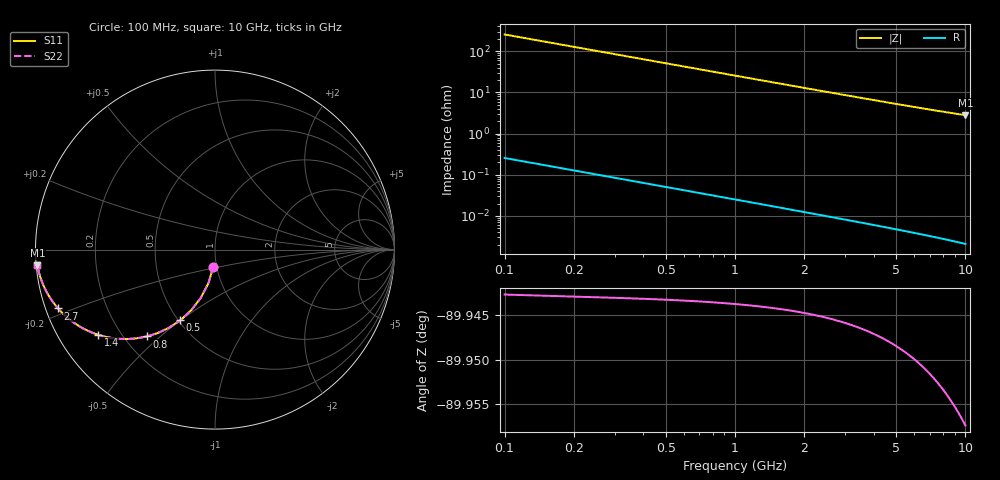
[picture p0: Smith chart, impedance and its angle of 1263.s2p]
# Hz S RI R 50.00
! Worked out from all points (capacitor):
!   100 points, 100 MHz to 10 GHz, reference 50 ohm
!   read as one part in shunt: C = 6.24 pF near 100 MHz
!   lowest |Z| = 2.8 ohm at 10 GHz (marker M1)
!   S11 on the Smith chart (normalised r, x): 100 MHz: 0.96, -0.19; 500 MHz: 0.51, -0.50; 800 MHz: 0.29, -0.45; 1.4 GHz: 0.12, -0.32; 2.7 GHz: 0.04, -0.18; 10 GHz: 0.00, -0.04
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1e8  -0.00959 -0.0969  0.9904 -0.0972  0.9904 -0.0972  -0.00959 -0.0969
2e8  -0.0371 -0.1884  0.9628 -0.1889  0.9628 -0.1889  -0.0371 -0.1884
3e8  -0.0797 -0.2701  0.9202 -0.2708  0.9202 -0.2708  -0.0797 -0.2701
4e8  -0.1334 -0.339  0.8666 -0.3399  0.8666 -0.3399  -0.1334 -0.339
5e8  -0.1937 -0.3942  0.8063 -0.3953  0.8063 -0.3953  -0.1937 -0.3942
6e8  -0.2569 -0.4358  0.7431 -0.4371  0.7431 -0.4371  -0.2569 -0.4358
7e8  -0.3199 -0.4651  0.6801 -0.4667  0.6801 -0.4667  -0.3199 -0.4651
8e8  -0.3804 -0.4841  0.6196 -0.4859  0.6196 -0.4859  -0.3804 -0.4841
9e8  -0.4371 -0.4945  0.5628 -0.4966  0.5628 -0.4966  -0.4371 -0.4945
1.1e9  -0.5368 -0.4969  0.4631 -0.4994  0.4631 -0.4994  -0.5368 -0.4969
1.2e9  -0.5796 -0.4918  0.4203 -0.4945  0.4203 -0.4945  -0.5796 -0.4918
1.4e9  -0.6522 -0.4742  0.3478 -0.4773  0.3478 -0.4773  -0.6522 -0.4742
1.6e9  -0.7099 -0.4515  0.29 -0.4551  0.29 -0.4551  -0.7099 -0.4515
1.8e9  -0.7558 -0.427  0.2441 -0.4311  0.2441 -0.4311  -0.7558 -0.427
2.2e9  -0.822 -0.3795  0.178 -0.3845  0.178 -0.3845  -0.822 -0.3795
2.7e9  -0.8742 -0.328  0.1258 -0.3342  0.1258 -0.3342  -0.8742 -0.328
3.4e9  -0.9167 -0.2719  0.0832 -0.2797  0.0832 -0.2797  -0.9167 -0.2719
4.2e9  -0.9438 -0.2249  0.0561 -0.2346  0.0561 -0.2346  -0.9438 -0.2249
5.1e9  -0.9612 -0.1864  0.0387 -0.1984  0.0387 -0.1984  -0.9612 -0.1864
6.7e9  -0.9773 -0.1403  0.0225 -0.1561  0.0225 -0.1561  -0.9773 -0.1403
8.4e9  -0.9855 -0.1082  0.0142 -0.1284  0.0142 -0.1284  -0.9855 -0.1082
1e10  -0.9899 -0.0866  0.00979 -0.111  0.00979 -0.111  -0.9899 -0.0866
